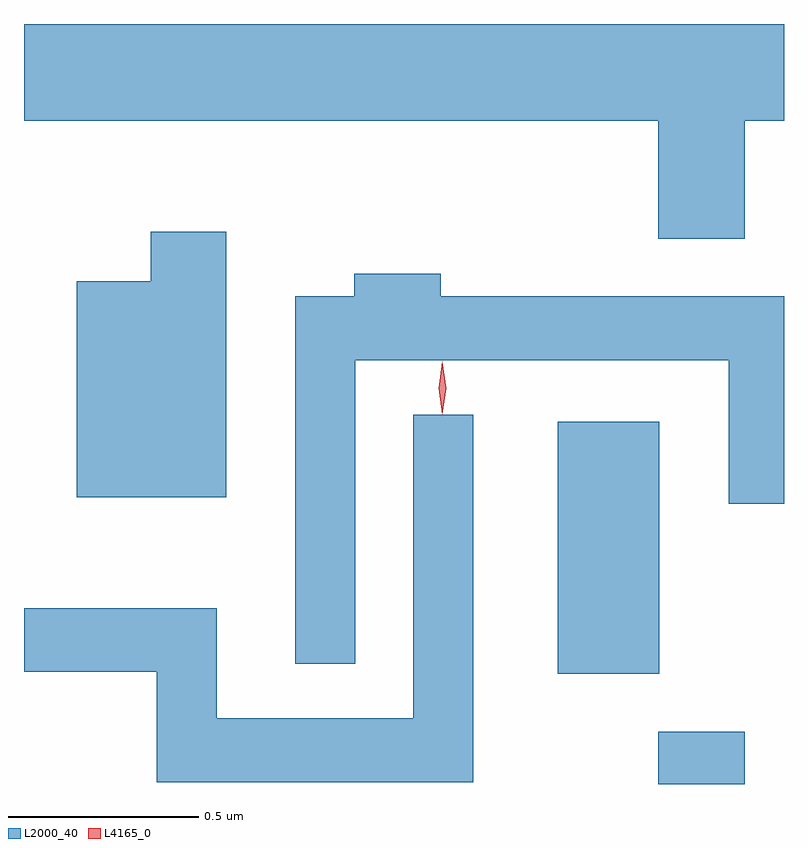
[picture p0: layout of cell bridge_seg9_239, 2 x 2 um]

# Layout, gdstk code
import gdstk
lib = gdstk.Library(unit=1e-6, precision=1e-09)
def R(c, l, rs):  # rectangles x0, y0, x1, y1
    for r in rs: c.add(gdstk.rectangle(r[:2], r[2:], *l))
def P(c, l, *ps):  # polygons
    for p in ps: c.add(gdstk.Polygon(p, *l))
L2000_40 = (2000, 40)
L4165_0 = (4165, 0)

bridge_seg9_239 = lib.new_cell('bridge_seg9_239')
R(bridge_seg9_239, L2000_40, [(1485.361,1998.951,1485.589,1999.089), (1485.096,1999.241,1485.364,1999.904)])
P(bridge_seg9_239, L2000_40, [(1485.589,2000.696),(1485.692,2000.696),(1485.692,2000.951),(1483.692,2000.951),(1483.692,2000.696),(1485.361,2000.696),(1485.361,2000.386),(1485.589,2000.386)],
  [(1484.224,2000.404),(1484.026,2000.404),(1484.026,2000.274),(1483.831,2000.274),(1483.831,1999.706),(1484.224,1999.706)],
  [(1484.564,2000.066),(1485.546,2000.066),(1485.546,1999.688),(1485.692,1999.688),(1485.692,2000.234),(1484.789,2000.234),(1484.789,2000.294),(1484.561,2000.294),(1484.561,2000.234),(1484.406,2000.234),(1484.406,1999.268),(1484.564,1999.268)],
  [(1484.874,1999.923),(1484.716,1999.923),(1484.716,1999.124),(1484.199,1999.124),(1484.199,1999.414),(1483.692,1999.414),(1483.692,1999.246),(1484.041,1999.246),(1484.041,1998.956),(1484.874,1998.956)])
P(bridge_seg9_239, L4165_0, [(1484.793,1999.923),(1484.792,1999.924),(1484.783,1999.993),(1484.792,2000.062),(1484.793,2000.063),(1484.793,2000.062),(1484.803,1999.993),(1484.793,1999.924)])

lib.write_gds('bridge_seg9_239.gds')
